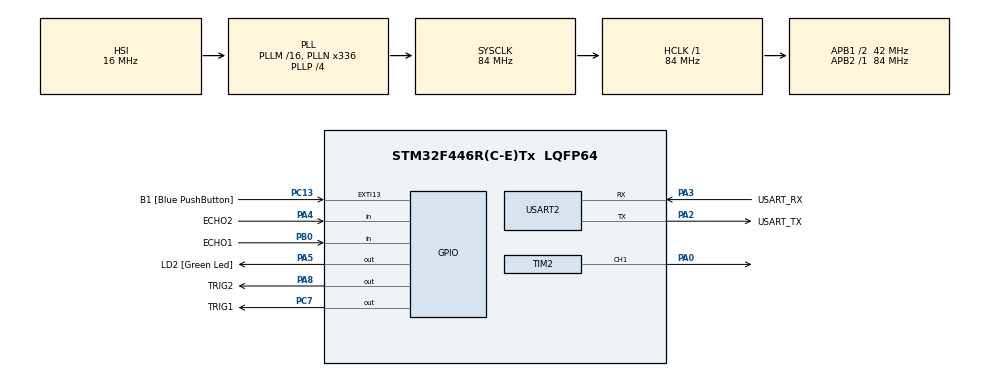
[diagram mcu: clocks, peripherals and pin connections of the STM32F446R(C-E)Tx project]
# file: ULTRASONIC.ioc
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Mcu.Family=STM32F4
Mcu.Name=STM32F446R(C-E)Tx
Mcu.Package=LQFP64
NVIC.PriorityGroup=NVIC_PRIORITYGROUP_0
PA0-WKUP.Signal=S_TIM2_CH1_ETR
PA13.GPIO_Label=TMS
PA13.Mode=Serial_Wire
PA13.Signal=SYS_JTMS-SWDIO
PA14.GPIO_Label=TCK
PA14.Mode=Serial_Wire
PA14.Signal=SYS_JTCK-SWCLK
PA2.GPIO_Label=USART_TX
PA2.Mode=Asynchronous
PA2.Signal=USART2_TX
PA3.GPIO_Label=USART_RX
PA3.Mode=Asynchronous
PA3.Signal=USART2_RX
PA4.GPIO_Label=ECHO2
PA4.Signal=GPIO_Input
PA5.GPIO_Label=LD2 [Green Led]
PA5.Signal=GPIO_Output
PA8.GPIO_Label=TRIG2
PA8.Signal=GPIO_Output
PB0.GPIO_Label=ECHO1
PB0.Signal=GPIO_Input
PB3.GPIO_Label=SWO
PB3.Signal=SYS_JTDO-SWO
PC13.GPIO_Label=B1 [Blue PushButton]
PC13.GPIO_ModeDefaultEXTI=GPIO_MODE_IT_FALLING
PC13.Signal=GPXTI13
PC14-OSC32_IN.Signal=RCC_OSC32_IN
PC15-OSC32_OUT.Signal=RCC_OSC32_OUT
PC7.GPIO_Label=TRIG1
PC7.Signal=GPIO_Output
PH0-OSC_IN.Signal=RCC_OSC_IN
PH1-OSC_OUT.Signal=RCC_OSC_OUT
ProjectManager.HeapSize=0x200
ProjectManager.StackSize=0x400
ProjectManager.TargetToolchain=STM32CubeIDE
RCC.48MHZClocksFreq_Value=84000000
RCC.AHBFreq_Value=84000000
RCC.APB1CLKDivider=RCC_HCLK_DIV2
RCC.APB1Freq_Value=42000000
RCC.APB1TimFreq_Value=84000000
RCC.APB2Freq_Value=84000000
RCC.APB2TimFreq_Value=84000000
RCC.CortexFreq_Value=84000000
RCC.FLatency-AdvancedSettings=FLASH_LATENCY_2
RCC.HCLKFreq_Value=84000000
RCC.HSE_VALUE=8000000
RCC.HSI_VALUE=16000000
RCC.PLLN=336
RCC.PLLP=RCC_PLLP_DIV4
RCC.SYSCLKFreq_VALUE=84000000
RCC.SYSCLKSource=RCC_SYSCLKSOURCE_PLLCLK
RCC.USBFreq_Value=168000000
RCC.VCOOutputFreq_Value=336000000
SH.S_TIM2_CH1_ETR.0=TIM2_CH1,PWM Generation1 CH1
TIM1.AutoReloadPreload=TIM_AUTORELOAD_PRELOAD_ENABLE
TIM1.Prescaler=84-1
TIM2.AutoReloadPreload=TIM_AUTORELOAD_PRELOAD_ENABLE
TIM2.Channel-PWM\ Generation1\ CH1=TIM_CHANNEL_1
TIM2.Prescaler=84-1
USART2.VirtualMode=VM_ASYNC
VP_TIM1_VS_ClockSourceINT.Mode=Internal
VP_TIM2_VS_ClockSourceINT.Mode=Internal
board=NUCLEO-F446RE

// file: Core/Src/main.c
/* USER CODE BEGIN Header */
/**
  ******************************************************************************
  * @file           : main.c
  * @brief          : Main program body
  ******************************************************************************
  * @attention
  *
  * Copyright (c) 2026 STMicroelectronics.
  * All rights reserved.
  *
  * This software is licensed under terms that can be found in the LICENSE file
  * in the root directory of this software component.
  * If no LICENSE file comes with this software, it is provided AS-IS.
  *
  ******************************************************************************
  */
/* USER CODE END Header */
#include "main.h"

/* USER CODE BEGIN Includes */
#include <stdio.h>
/* USER CODE END Includes */

/* USER CODE BEGIN PD */
#define HIGH 1
#define LOW 0
long unsigned int echo_time;
int dist;
/* USER CODE END PD */

TIM_HandleTypeDef htim1;
TIM_HandleTypeDef htim2;

UART_HandleTypeDef huart2;
UART_HandleTypeDef huart3;

void SystemClock_Config(void);
static void MX_GPIO_Init(void);
static void MX_USART2_UART_Init(void);
static void MX_TIM1_Init(void);
static void MX_TIM2_Init(void);

/* USER CODE BEGIN 0 */
#ifdef __GNUC__
/* With GCC, small printf (option LD Linker->Libraries->Small printf
   set to 'Yes') calls __io_putchar() */
#define PUTCHAR_PROTOTYPE int __io_putchar(int ch)
#else
#define PUTCHAR_PROTOTYPE int fputc(int ch, FILE *f)
#endif /* __GNUC__ */

/**
  * @brief  Retargets the C library printf function to the USART.
  * @param  None
  * @retval None
  */
PUTCHAR_PROTOTYPE
{
  /* Place your implementation of fputc here */
  /* e.g. write a character to the USART1 and Loop until the end of transmission */
  if (ch == '\n')
    HAL_UART_Transmit (&huart2, (uint8_t*) "\r", 1, 0xFFFF);
  HAL_UART_Transmit (&huart2, (uint8_t*) &ch, 1, 0xFFFF);

  return ch;
}

void timer_start(void)
{
   HAL_TIM_Base_Start(&htim1);
   HAL_TIM_Base_Start(&htim2);
}

void delay_us(uint16_t us)
{
   __HAL_TIM_SET_COUNTER(&htim1, 0); // initislize counter to start from 0
   while((__HAL_TIM_GET_COUNTER(&htim1))<us); // wait count until us

   __HAL_TIM_SET_COUNTER(&htim2, 0); // initislize counter to start from 0
    while((__HAL_TIM_GET_COUNTER(&htim2))<us); // wait count until us

}

void trig(void)
{
   HAL_GPIO_WritePin(TRIG1_GPIO_Port, TRIG1_Pin, HIGH);
   delay_us(10);
   HAL_GPIO_WritePin(TRIG1_GPIO_Port, TRIG1_Pin, LOW);

   HAL_GPIO_WritePin(TRIG2_GPIO_Port, TRIG2_Pin, HIGH);
   delay_us(10);
   HAL_GPIO_WritePin(TRIG2_GPIO_Port, TRIG2_Pin, LOW);

}

// 센서 1 측정 함수
uint32_t echo1(void) {
    uint32_t start_tick, start_time, end_time;
    start_tick = HAL_GetTick();
    while (HAL_GPIO_ReadPin(ECHO1_GPIO_Port, ECHO1_Pin) == GPIO_PIN_RESET) {
        if ((HAL_GetTick() - start_tick) > 10) return 0;
    }
    start_time = __HAL_TIM_GET_COUNTER(&htim1);
    start_tick = HAL_GetTick();
    while (HAL_GPIO_ReadPin(ECHO1_GPIO_Port, ECHO1_Pin) == GPIO_PIN_SET) {
        if ((HAL_GetTick() - start_tick) > 30) return 0;
    }
    end_time = __HAL_TIM_GET_COUNTER(&htim1);
    return (end_time - start_time);
}

uint32_t echo2(void) {
        uint32_t start_tick, start_time, end_time;
        start_tick = HAL_GetTick();
        while (HAL_GPIO_ReadPin(ECHO2_GPIO_Port, ECHO2_Pin) == GPIO_PIN_RESET) {
            if ((HAL_GetTick() - start_tick) > 10) return 0;
        }
        start_time = __HAL_TIM_GET_COUNTER(&htim2);
        start_tick = HAL_GetTick();
        while (HAL_GPIO_ReadPin(ECHO2_GPIO_Port, ECHO2_Pin) == GPIO_PIN_SET) {
            if ((HAL_GetTick() - start_tick) > 30) return 0;
        }
        end_time = __HAL_TIM_GET_COUNTER(&htim2);
        return (end_time - start_time);
    }

/* USER CODE END 0 */

int main(void)
{

  /* MCU Configuration--------------------------------------------------------*/

  /* Reset of all peripherals, Initializes the Flash interface and the Systick. */
  HAL_Init();

  /* Configure the system clock */
  SystemClock_Config();

  /* Initialize all configured peripherals */
  MX_GPIO_Init();
  MX_USART2_UART_Init();
  MX_TIM1_Init();
  MX_TIM2_Init();
  /* USER CODE BEGIN 2 */
  timer_start();
    printf("Ranging with HC-SR04\n");
  /* USER CODE END 2 */

  /* Infinite loop */
  /* USER CODE BEGIN WHILE */
  while (1)
  {

	  HAL_GPIO_WritePin(TRIG1_GPIO_Port, TRIG1_Pin, HIGH);
	      delay_us(10);
	      HAL_GPIO_WritePin(TRIG1_GPIO_Port, TRIG1_Pin, LOW);
	      uint32_t t1 = echo1();
	      if(t1 != 0) printf("Distance1 = %d(mm)\r\n", (int)(17 * t1 / 100));
	      else printf("Out of Range 1!\r\n");

	      HAL_Delay(50); // 센서 간섭 방지

	      // 센서 2 작업
	      HAL_GPIO_WritePin(TRIG2_GPIO_Port, TRIG2_Pin, HIGH);
	      delay_us(10);
	      HAL_GPIO_WritePin(TRIG2_GPIO_Port, TRIG2_Pin, LOW);
	      uint32_t t2 = echo2();
	      if(t2 != 0) printf("Distance2 = %d(mm)\r\n", (int)(17 * t2 / 100));
	      else printf("Out of Range 2!\r\n");

	      HAL_Delay(50);
    /* USER CODE END WHILE */

  }
}

void SystemClock_Config(void)
{
  RCC_OscInitTypeDef RCC_OscInitStruct = {0};
  RCC_ClkInitTypeDef RCC_ClkInitStruct = {0};

  /** Configure the main internal regulator output voltage
  */
  __HAL_RCC_PWR_CLK_ENABLE();
  __HAL_PWR_VOLTAGESCALING_CONFIG(PWR_REGULATOR_VOLTAGE_SCALE3);

  /** Initializes the RCC Oscillators according to the specified parameters
  * in the RCC_OscInitTypeDef structure.
  */
  RCC_OscInitStruct.OscillatorType = RCC_OSCILLATORTYPE_HSI;
  RCC_OscInitStruct.HSIState = RCC_HSI_ON;
  RCC_OscInitStruct.HSICalibrationValue = RCC_HSICALIBRATION_DEFAULT;
  RCC_OscInitStruct.PLL.PLLState = RCC_PLL_ON;
  RCC_OscInitStruct.PLL.PLLSource = RCC_PLLSOURCE_HSI;
  RCC_OscInitStruct.PLL.PLLM = 16;
  RCC_OscInitStruct.PLL.PLLN = 336;
  RCC_OscInitStruct.PLL.PLLP = RCC_PLLP_DIV4;
  RCC_OscInitStruct.PLL.PLLQ = 2;
  RCC_OscInitStruct.PLL.PLLR = 2;
  if (HAL_RCC_OscConfig(&RCC_OscInitStruct) != HAL_OK)
  {
    Error_Handler();
  }

  /** Initializes the CPU, AHB and APB buses clocks
  */
  RCC_ClkInitStruct.ClockType = RCC_CLOCKTYPE_HCLK|RCC_CLOCKTYPE_SYSCLK
                              |RCC_CLOCKTYPE_PCLK1|RCC_CLOCKTYPE_PCLK2;
  RCC_ClkInitStruct.SYSCLKSource = RCC_SYSCLKSOURCE_PLLCLK;
  RCC_ClkInitStruct.AHBCLKDivider = RCC_SYSCLK_DIV1;
  RCC_ClkInitStruct.APB1CLKDivider = RCC_HCLK_DIV2;
  RCC_ClkInitStruct.APB2CLKDivider = RCC_HCLK_DIV1;

  if (HAL_RCC_ClockConfig(&RCC_ClkInitStruct, FLASH_LATENCY_2) != HAL_OK)
  {
    Error_Handler();
  }
}

static void MX_TIM1_Init(void)
{

  TIM_ClockConfigTypeDef sClockSourceConfig = {0};
  TIM_MasterConfigTypeDef sMasterConfig = {0};

  htim1.Instance = TIM1;
  htim1.Init.Prescaler = 84-1;
  htim1.Init.CounterMode = TIM_COUNTERMODE_UP;
  htim1.Init.Period = 65535;
  htim1.Init.ClockDivision = TIM_CLOCKDIVISION_DIV1;
  htim1.Init.RepetitionCounter = 0;
  htim1.Init.AutoReloadPreload = TIM_AUTORELOAD_PRELOAD_ENABLE;
  if (HAL_TIM_Base_Init(&htim1) != HAL_OK)
  {
    Error_Handler();
  }
  sClockSourceConfig.ClockSource = TIM_CLOCKSOURCE_INTERNAL;
  if (HAL_TIM_ConfigClockSource(&htim1, &sClockSourceConfig) != HAL_OK)
  {
    Error_Handler();
  }
  sMasterConfig.MasterOutputTrigger = TIM_TRGO_RESET;
  sMasterConfig.MasterSlaveMode = TIM_MASTERSLAVEMODE_DISABLE;
  if (HAL_TIMEx_MasterConfigSynchronization(&htim1, &sMasterConfig) != HAL_OK)
  {
    Error_Handler();
  }

}

static void MX_TIM2_Init(void)
{

  TIM_ClockConfigTypeDef sClockSourceConfig = {0};
  TIM_MasterConfigTypeDef sMasterConfig = {0};
  TIM_OC_InitTypeDef sConfigOC = {0};

  htim2.Instance = TIM2;
  htim2.Init.Prescaler = 84-1;
  htim2.Init.CounterMode = TIM_COUNTERMODE_UP;
  htim2.Init.Period = 4294967295;
  htim2.Init.ClockDivision = TIM_CLOCKDIVISION_DIV1;
  htim2.Init.AutoReloadPreload = TIM_AUTORELOAD_PRELOAD_ENABLE;
  if (HAL_TIM_Base_Init(&htim2) != HAL_OK)
  {
    Error_Handler();
  }
  sClockSourceConfig.ClockSource = TIM_CLOCKSOURCE_INTERNAL;
  if (HAL_TIM_ConfigClockSource(&htim2, &sClockSourceConfig) != HAL_OK)
  {
    Error_Handler();
  }
  if (HAL_TIM_PWM_Init(&htim2) != HAL_OK)
  {
    Error_Handler();
  }
  sMasterConfig.MasterOutputTrigger = TIM_TRGO_RESET;
  sMasterConfig.MasterSlaveMode = TIM_MASTERSLAVEMODE_DISABLE;
  if (HAL_TIMEx_MasterConfigSynchronization(&htim2, &sMasterConfig) != HAL_OK)
  {
    Error_Handler();
  }
  sConfigOC.OCMode = TIM_OCMODE_PWM1;
  sConfigOC.Pulse = 0;
  sConfigOC.OCPolarity = TIM_OCPOLARITY_HIGH;
  sConfigOC.OCFastMode = TIM_OCFAST_DISABLE;
  if (HAL_TIM_PWM_ConfigChannel(&htim2, &sConfigOC, TIM_CHANNEL_1) != HAL_OK)
  {
    Error_Handler();
  }
  HAL_TIM_MspPostInit(&htim2);

}

static void MX_USART2_UART_Init(void)
{

  huart2.Instance = USART2;
  huart2.Init.BaudRate = 115200;
  huart2.Init.WordLength = UART_WORDLENGTH_8B;
  huart2.Init.StopBits = UART_STOPBITS_1;
  huart2.Init.Parity = UART_PARITY_NONE;
  huart2.Init.Mode = UART_MODE_TX_RX;
  huart2.Init.HwFlowCtl = UART_HWCONTROL_NONE;
  huart2.Init.OverSampling = UART_OVERSAMPLING_16;
  if (HAL_UART_Init(&huart2) != HAL_OK)
  {
    Error_Handler();
  }

}

static void MX_GPIO_Init(void)
{
  GPIO_InitTypeDef GPIO_InitStruct = {0};

  /* GPIO Ports Clock Enable */
  __HAL_RCC_GPIOC_CLK_ENABLE();
  __HAL_RCC_GPIOH_CLK_ENABLE();
  __HAL_RCC_GPIOA_CLK_ENABLE();
  __HAL_RCC_GPIOB_CLK_ENABLE();

  /*Configure GPIO pin Output Level */
  HAL_GPIO_WritePin(GPIOA, LD2_Pin|TRIG2_Pin, GPIO_PIN_RESET);

  /*Configure GPIO pin Output Level */
  HAL_GPIO_WritePin(TRIG1_GPIO_Port, TRIG1_Pin, GPIO_PIN_RESET);

  /*Configure GPIO pin : B1_Pin */
  GPIO_InitStruct.Pin = B1_Pin;
  GPIO_InitStruct.Mode = GPIO_MODE_IT_FALLING;
  GPIO_InitStruct.Pull = GPIO_NOPULL;
  HAL_GPIO_Init(B1_GPIO_Port, &GPIO_InitStruct);

  /*Configure GPIO pin : ECHO2_Pin */
  GPIO_InitStruct.Pin = ECHO2_Pin;
  GPIO_InitStruct.Mode = GPIO_MODE_INPUT;
  GPIO_InitStruct.Pull = GPIO_NOPULL;
  HAL_GPIO_Init(ECHO2_GPIO_Port, &GPIO_InitStruct);

  /*Configure GPIO pins : LD2_Pin TRIG2_Pin */
  GPIO_InitStruct.Pin = LD2_Pin|TRIG2_Pin;
  GPIO_InitStruct.Mode = GPIO_MODE_OUTPUT_PP;
  GPIO_InitStruct.Pull = GPIO_NOPULL;
  GPIO_InitStruct.Speed = GPIO_SPEED_FREQ_LOW;
  HAL_GPIO_Init(GPIOA, &GPIO_InitStruct);

  /*Configure GPIO pin : ECHO1_Pin */
  GPIO_InitStruct.Pin = ECHO1_Pin;
  GPIO_InitStruct.Mode = GPIO_MODE_INPUT;
  GPIO_InitStruct.Pull = GPIO_NOPULL;
  HAL_GPIO_Init(ECHO1_GPIO_Port, &GPIO_InitStruct);

  /*Configure GPIO pin : TRIG1_Pin */
  GPIO_InitStruct.Pin = TRIG1_Pin;
  GPIO_InitStruct.Mode = GPIO_MODE_OUTPUT_PP;
  GPIO_InitStruct.Pull = GPIO_NOPULL;
  GPIO_InitStruct.Speed = GPIO_SPEED_FREQ_LOW;
  HAL_GPIO_Init(TRIG1_GPIO_Port, &GPIO_InitStruct);

}

void Error_Handler(void)
{
  __disable_irq();
  while (1)
  {
  }
}
